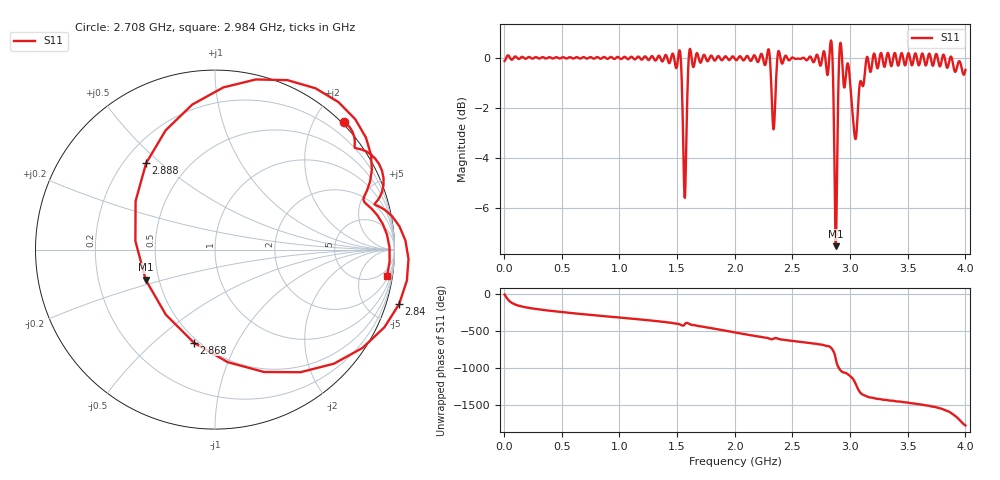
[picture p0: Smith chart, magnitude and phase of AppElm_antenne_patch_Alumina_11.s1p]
! TOUCHSTONE file generated by CST MICROWAVE STUDIO
! Date and time: Thu Jun  9 14:52:43 2022
! Project name: AppElm_antenne_patch_Alumina.cst
! Parameters = {L=30.5; W=41.8; e=0.035; h=1.6; lambda=0.190476; ls=90; w0=1.12; w1=0.373; ws=90; y0=17.5; y1=10}
! Header version: 2018
! Port assignment regex: !\s*Touchstone port\s*([0-9]+)\s*=\s*(CST MWS port|CST DS port)\s*([0-9]+|Zmin|Zmax)\s*\(\"(.*)\"\)(\s*mode\s*([0-9]+))?.*
! Touchstone port assignment:
! Touchstone port 1 = CST MWS port 1 ("")
# GHz S MA R 50
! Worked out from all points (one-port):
!   1000 points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, 4 MHz to 4 GHz, reference 50 ohm
!   lowest |S11| = -7.5 dB at 2.876 GHz (marker M1), VSWR 2.46, Z = 21.1 - j8.64 ohm
!   |S11| at or under -10 dB: nowhere
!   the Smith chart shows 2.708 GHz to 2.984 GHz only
!   S11 on the Smith chart (normalised r, x): 2.708 GHz: -0.04, +2.43; 2.84 GHz: -1.56, -6.54; 2.868 GHz: 0.47, -0.68; 2.888 GHz: 0.29, +0.45; 2.984 GHz: 3, -13
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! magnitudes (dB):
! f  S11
! 4 MHz  -0.1
! 504 MHz  0.0
! 1.004 GHz  0.0
! 1.504 GHz  -0.2
! 1.528 GHz  0.2
! 1.556 GHz  -4.1
! 1.568 GHz  -5.6
! 1.6 GHz  -0.1
! 1.616 GHz  0.3
! 2.004 GHz  -0.1
! 2.288 GHz  0.3
! 2.336 GHz  -2.9
! 2.384 GHz  0.3
! 2.504 GHz  0.0
! 2.708 GHz  0.1
! 2.84 GHz  0.6
! 2.868 GHz  -5.5
! 2.876 GHz  -7.5
! 2.888 GHz  -4.2
! 2.904 GHz  -0.2
! 2.916 GHz  0.6
! 2.984 GHz  -0.3
! 3.004 GHz  -1.2
! 3.044 GHz  -3.2
! 3.088 GHz  -1.0
! 3.148 GHz  0.0
! 3.504 GHz  0.2
! 4 GHz  -0.5
